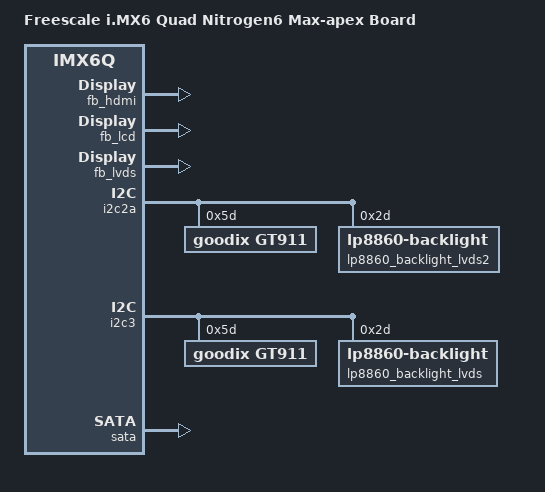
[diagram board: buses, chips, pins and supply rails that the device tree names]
/*
 * Copyright 2013 Boundary Devices
 * Copyright 2012 Freescale Semiconductor, Inc.
 * Copyright 2011 Linaro Ltd.
 *
 * The code contained herein is licensed under the GNU General Public
 * License. You may obtain a copy of the GNU General Public License
 * Version 2 or later at the following locations:
 *
 * http://www.opensource.org/licenses/gpl-license.html
 * http://www.gnu.org/copyleft/gpl.html
 */

/dts-v1/;

#include <dt-bindings/interrupt-controller/irq.h>
#include "imx6q.dtsi"
#include "imx6qdl-nitrogen6_max.dtsi"

/ {
	model = "Freescale i.MX6 Quad Nitrogen6 Max-apex Board";
	compatible = "fsl,imx6q-nitrogen6_max", "fsl,imx6q";
};

&iomuxc_imx6q_nitrogen6_max {
	pinctrl_i2c2a_gt911: i2c2a_gt911grp {
		fsl,pins = <
#define GPIRQ_GT911_2A			<&gpio1 16 IRQ_TYPE_LEVEL_HIGH>
#define GP_GT911_IRQ_2A			<&gpio1 16 GPIO_ACTIVE_HIGH>
			MX6QDL_PAD_SD1_DAT0__GPIO1_IO16		0x1b0b0
#define GP_GT911_RESET_2A		<&gpio1 19 GPIO_ACTIVE_HIGH>
			MX6QDL_PAD_SD1_DAT2__GPIO1_IO19		0x030b0
		>;
	};

	pinctrl_i2c2a_lp8860: i2c2a_lp8860grp {
		fsl,pins = <
#define GP_LVDS2_LP8860_RESET	<&gpio2 23 GPIO_ACTIVE_LOW>
			MX6QDL_PAD_EIM_CS0__GPIO2_IO23		0x030b0
		>;
	};

	pinctrl_i2c3_gt911: i2c3_gt911grp {
		fsl,pins = <
#define GPIRQ_GT911			<&gpio1 9 IRQ_TYPE_LEVEL_HIGH>
#define GP_GT911_IRQ			<&gpio1 9 GPIO_ACTIVE_HIGH>
/*			MX6QDL_PAD_GPIO_9__GPIO1_IO09		0x1b0b0		*/
#undef GP_GT911_RESET
#define GP_GT911_RESET		<&gpio1 18 GPIO_ACTIVE_HIGH>
			MX6QDL_PAD_SD1_CMD__GPIO1_IO18		0x030b0
		>;
	};

	pinctrl_i2c3_lp8860: i2c3_lp8860grp {
		fsl,pins = <
#define GP_LVDS_LP8860_RESET	<&gpio2 0 GPIO_ACTIVE_LOW>
			MX6QDL_PAD_NANDF_D0__GPIO2_IO00		0x030b0
		>;
	};

};

&backlight_lvds2 {
	status = "disabled";
};

&fb_hdmi {
	status = "okay";
};

&fb_lcd {
	status = "okay";
};

&fb_lvds {
	status = "okay";
};

&i2c2a {
	/delete-node/ ft5x06_ts@38;
	gt911@5d {
		compatible = "goodix,gt911";
		pinctrl-names = "default";
		pinctrl-0 = <&pinctrl_i2c2a_gt911>;
		reg = <0x5d>;
		substitute-i2c-address = <0x2c>;
		esd-recovery-timeout-ms = <2000>;
		interrupts-extended = GPIRQ_GT911_2A;
		irq-gpios = GP_GT911_IRQ_2A;
		reset-gpios = GP_GT911_RESET_2A;
	};

	lp8860_backlight_lvds2@2d {
		brightness-levels = <0 1 2 3 4 5 6 7 8 9 10>;
		compatible = "lp8860-backlight";
		default-brightness-level = <10>;
		display = <&fb_lvds2>;
		pinctrl-names = "default";
		pinctrl-0 = <&pinctrl_i2c2a_lp8860>;
		reg = <0x2d>;
		reset-gpios = GP_LVDS2_LP8860_RESET;
	};

};

&i2c3 {
	/delete-node/ atmel_maxtouch@4a;
	/delete-node/ egalax_ts@04;
	/delete-node/ ft5x06_ts@38;
	/delete-node/ gt911@14;
	/delete-node/ ili210x@41;
	/delete-node/ tsc2004@48;
	gt911@5d {
		compatible = "goodix,gt911";
		pinctrl-names = "default";
		pinctrl-0 = <&pinctrl_i2c3_gt911>;
		reg = <0x5d>;
		substitute-i2c-address = <0x2c>;
		esd-recovery-timeout-ms = <2000>;
		interrupts-extended = GPIRQ_GT911;
		irq-gpios = GP_GT911_IRQ;
		reset-gpios = GP_GT911_RESET;
	};

	lp8860_backlight_lvds@2d {
		brightness-levels = <0 1 2 3 4 5 6 7 8 9 10>;
		compatible = "lp8860-backlight";
		default-brightness-level = <10>;
		display = <&fb_lvds>;
		pinctrl-names = "default";
		pinctrl-0 = <&pinctrl_i2c3_lp8860>;
		reg = <0x2d>;
		reset-gpios = GP_LVDS_LP8860_RESET;
	};
};

&ov5640 {
	ipu_id = <1>;
};

&pinctrl_i2c3_ov5640 { /* parallel camera */
	fsl,pins = <
		MX6QDL_PAD_EIM_A17__IPU2_CSI1_DATA12	0xb0b1
		MX6QDL_PAD_EIM_A18__IPU2_CSI1_DATA13	0xb0b1
		MX6QDL_PAD_EIM_A19__IPU2_CSI1_DATA14	0xb0b1
		MX6QDL_PAD_EIM_A20__IPU2_CSI1_DATA15	0xb0b1
		MX6QDL_PAD_EIM_A21__IPU2_CSI1_DATA16	0xb0b1
		MX6QDL_PAD_EIM_A22__IPU2_CSI1_DATA17	0xb0b1
		MX6QDL_PAD_EIM_A23__IPU2_CSI1_DATA18	0xb0b1
		MX6QDL_PAD_EIM_EB2__IPU2_CSI1_DATA19	0xb0b1
		MX6QDL_PAD_EIM_DA10__IPU2_CSI1_DATA_EN	0xb0b1
		MX6QDL_PAD_EIM_A16__IPU2_CSI1_PIXCLK	0xb0b1
		MX6QDL_PAD_EIM_DA11__IPU2_CSI1_HSYNC	0xb0b1
		MX6QDL_PAD_EIM_DA12__IPU2_CSI1_VSYNC	0xb0b1
	>;
};

&pwm2 {
	status = "disabled";
};

&pwm4 {
	status = "disabled";
};

&sata {
	status = "okay";
};

&v4l2_cap_2 {
	ipu_id = <1>;
};
